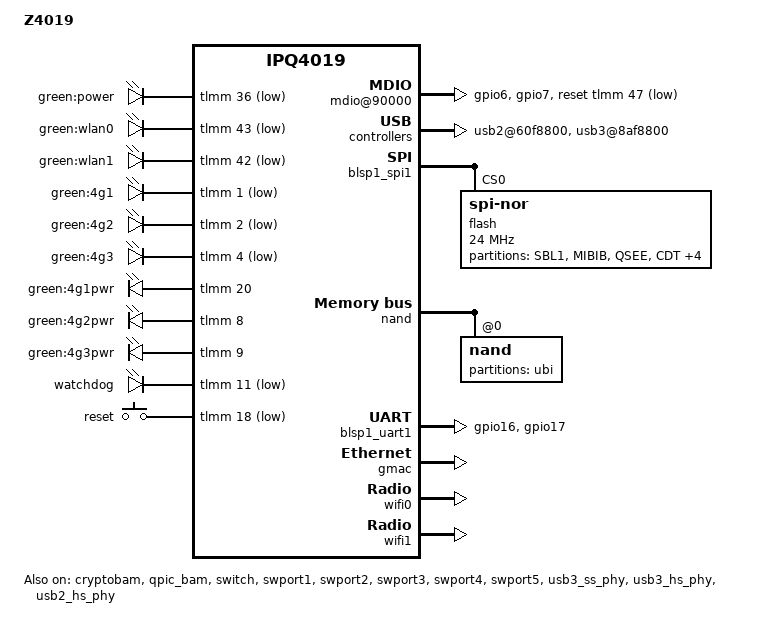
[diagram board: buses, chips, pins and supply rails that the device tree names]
// SPDX-License-Identifier: GPL-2.0-or-later OR MIT

#include "qcom-ipq4019.dtsi"
#include <dt-bindings/gpio/gpio.h>
#include <dt-bindings/input/input.h>
#include <dt-bindings/soc/qcom,tcsr.h>
#include <dt-bindings/leds/common.h>

/ {
	model = "Z4019";
	compatible = "zbt,z4019";

	chosen {
		bootargs-append = " ubi.mtd=ubi root=/dev/ubiblock0_1";
	};

	aliases {
		led-boot = &power;
		led-failsafe = &power;
		led-running = &power;
		led-upgrade = &power;
	};

	soc {
		rng@22000 {
			status = "okay";
		};

		mdio@90000 {
			status = "okay";
			pinctrl-0 = <&mdio_pins>;
			pinctrl-names = "default";
			reset-gpios = <&tlmm 47 GPIO_ACTIVE_LOW>;
			reset-delay-us = <2000>;
		};

		tcsr@1949000 {
			compatible = "qcom,tcsr";
			reg = <0x1949000 0x100>;
			qcom,wifi_glb_cfg = <TCSR_WIFI_GLB_CFG>;
		};

		tcsr@194b000 {
			compatible = "qcom,tcsr";
			reg = <0x194b000 0x100>;
			qcom,usb-hsphy-mode-select = <TCSR_USB_HSPHY_HOST_MODE>;
		};

		ess_tcsr@1953000 {
			compatible = "qcom,tcsr";
			reg = <0x1953000 0x1000>;
			qcom,ess-interface-select = <TCSR_ESS_PSGMII>;
		};

		tcsr@1957000 {
			compatible = "qcom,tcsr";
			reg = <0x1957000 0x100>;
			qcom,wifi_noc_memtype_m0_m2 = <TCSR_WIFI_NOC_MEMTYPE_M0_M2>;
		};

		usb2@60f8800 {
			status = "okay";
		};

		usb3@8af8800 {
			status = "okay";
		};

		crypto@8e3a000 {
			status = "okay";
		};

		watchdog@b017000 {
			status = "okay";
		};
	};

	leds {
		compatible = "gpio-leds";

		power: power {
			label = "green:power";
			gpios = <&tlmm 36 GPIO_ACTIVE_LOW>;
		};

		wifi0 {
			label = "green:wlan0";
			gpios = <&tlmm 43 GPIO_ACTIVE_LOW>;
		};

		wifi1 {
			label = "green:wlan1";
			gpios = <&tlmm 42 GPIO_ACTIVE_LOW>;
		};

		4g1 {
			label = "green:4g1";
			gpios = <&tlmm 1 GPIO_ACTIVE_LOW>;
		};

		4g2 {
			label = "green:4g2";
			gpios = <&tlmm 2 GPIO_ACTIVE_LOW>;
		};

		4g3 {
			label = "green:4g3";
			gpios = <&tlmm 4 GPIO_ACTIVE_LOW>;
		};

		4g1pwr {
			label = "green:4g1pwr";
			gpios = <&tlmm 20 GPIO_ACTIVE_HIGH>;
		};

		4g2pwr {
			label = "green:4g2pwr";
			gpios = <&tlmm 8 GPIO_ACTIVE_HIGH>;
		};

		4g3pwr {
			label = "green:4g3pwr";
			gpios = <&tlmm 9 GPIO_ACTIVE_HIGH>;
		};

		watchdog {
		compatible = "linux,wdt-gpio";
		gpios = <&tlmm 11 GPIO_ACTIVE_LOW>;
		hw_algo = "toggle";
		hw_margin_ms = <6000>;
		always-running;
		};   
	};

	keys {
		compatible = "gpio-keys";

		reset {
			label = "reset";
			gpios = <&tlmm 18 GPIO_ACTIVE_LOW>;
			linux,code = <KEY_RESTART>;
		};
	};
};

&blsp_dma {
	status = "okay";
};

&blsp1_spi1 {
	status = "okay";

	flash@0 {
		reg = <0>;
		compatible = "jedec,spi-nor";
		spi-max-frequency = <24000000>;

		partitions {
			compatible = "fixed-partitions";
			#address-cells = <1>;
			#size-cells = <1>;

			partition@0 {
				label = "SBL1";
				reg = <0x0 0x40000>;
				read-only;
			};

			partition@40000 {
				label = "MIBIB";
				reg = <0x40000 0x20000>;
				read-only;
			};

			partition@60000 {
				label = "QSEE";
				reg = <0x60000 0x60000>;
				read-only;
			};

			partition@c0000 {
				label = "CDT";
				reg = <0xc0000 0x10000>;
				read-only;
			};

			partition@d0000 {
				label = "DDRPARAMS";
				reg = <0xd0000 0x10000>;
				read-only;
			};

			partition@e0000 {
				label = "APPSBLENV";
				reg = <0xe0000 0x10000>;
				read-only;
			};

			partition@f0000 {
				label = "APPSBL";
				reg = <0xf0000 0x80000>;
				read-only;
			};

			partition@170000 {
				label = "ART";
				reg = <0x170000 0x10000>;
				read-only;
				compatible = "nvmem-cells";
				#address-cells = <1>;
				#size-cells = <1>;

				precal_art_1000: precal@1000 {
					reg = <0x1000 0x2f20>;
				};

				precal_art_5000: precal@5000 {
					reg = <0x5000 0x2f20>;
				};

				macaddr_art_0: macaddr@0 {
					reg = <0x0 0x6>;
				};

				macaddr_art_6: macaddr@6 {
					reg = <0x6 0x6>;
				};
			};
		};
	};
};

&nand {
	status = "okay";

	nand@0 {
		partitions {
			compatible = "fixed-partitions";
			#address-cells = <1>;
			#size-cells = <1>;

			nand_rootfs: partition@0 {
				label = "ubi";
				reg = <0x0 0x8000000>;
			};
		};
	};
};

&blsp1_uart1 {
	pinctrl-0 = <&serial_0_pins>;
	pinctrl-names = "default";
	status = "okay";
};

&cryptobam {
	status = "okay";
};

&qpic_bam {
	status = "okay";
};

&tlmm {
	mdio_pins: mdio_pinmux {
		mux_1 {
			pins = "gpio6";
			function = "mdio";
			bias-pull-up;
		};

		mux_2 {
			pins = "gpio7";
			function = "mdc";
			bias-pull-up;
		};
	};

	serial_0_pins: serial0-pinmux {
		mux {
			pins = "gpio16", "gpio17";
			function = "blsp_uart0";
			bias-disable;
		};
	};
};

&gmac {
	status = "okay";
};

&switch {
	status = "okay";
};

&swport1 {
	status = "okay";

	nvmem-cells = <&macaddr_art_0>;
	nvmem-cell-names = "mac-address";
};

&swport2 {
	status = "okay";

	nvmem-cells = <&macaddr_art_0>;
	nvmem-cell-names = "mac-address";
};

&swport3 {
	status = "okay";

	nvmem-cells = <&macaddr_art_0>;
	nvmem-cell-names = "mac-address";
};

&swport4 {
	status = "okay";

	nvmem-cells = <&macaddr_art_0>;
	nvmem-cell-names = "mac-address";
};

&swport5 {
	status = "okay";

	nvmem-cells = <&macaddr_art_6>;
	nvmem-cell-names = "mac-address";
};

&usb3_ss_phy {
	status = "okay";
};

&usb3_hs_phy {
	status = "okay";
};

&usb2_hs_phy {
	status = "okay";
};

&wifi0 {
	status = "okay";
	nvmem-cell-names = "pre-calibration", "mac-address";
	nvmem-cells = <&precal_art_1000>, <&macaddr_art_0>;
	qcom,ath10k-calibration-variant = "ZBT-Z4019";
};

&wifi1 {
	status = "okay";
	nvmem-cell-names = "pre-calibration", "mac-address";
	nvmem-cells = <&precal_art_5000>, <&macaddr_art_0>;
	qcom,ath10k-calibration-variant = "ZBT-Z4019";
};
